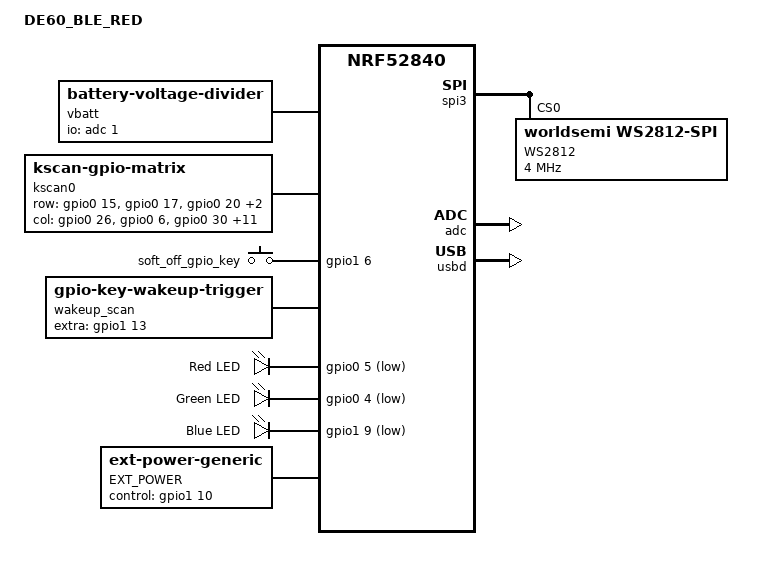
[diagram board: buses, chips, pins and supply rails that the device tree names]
/*
 * Copyright (c) 2025 Deemen17 Works
 *
 * SPDX-License-Identifier: MIT
 */

/dts-v1/;
#include <nordic/nrf52840_qiaa.dtsi>
#include <dt-bindings/led/led.h>

#include "de60_ble_red-pinctrl.dtsi"
#include "de60_ble_red-layouts.dtsi"
#include "de60_ble_red-transforms.dtsi"

/ {
    model = "DE60_BLE_RED";
    compatible = "deemen17,de60", "nordic,nrf52840";

    chosen {
        zephyr,code-partition = &code_partition;
        zephyr,sram = &sram0;
        zephyr,flash = &flash0;
        zmk,kscan = &kscan0;
        zmk,battery = &vbatt;
        zmk,underglow = &led_strip;
        zmk,studio-rpc-uart = &cdc_acm_uart;
        // zephyr,console = &cdc_acm_uart;
    };

    vbatt: vbatt {
        compatible = "zmk,battery-voltage-divider";
        io-channels = <&adc 1>; // P0.30
        output-ohms = <2000000>;
        full-ohms = <(1000000 + 2000000)>;
    };

    kscan0: kscan {
        compatible = "zmk,kscan-gpio-matrix";
        wakeup-source;
        diode-direction = "col2row";
        row-gpios
            = <&gpio0 15 (GPIO_ACTIVE_HIGH | GPIO_PULL_DOWN)>
            , <&gpio0 17 (GPIO_ACTIVE_HIGH | GPIO_PULL_DOWN)>
            , <&gpio0 20 (GPIO_ACTIVE_HIGH | GPIO_PULL_DOWN)>
            , <&gpio0 12 (GPIO_ACTIVE_HIGH | GPIO_PULL_DOWN)>
            , <&gpio1 6  (GPIO_ACTIVE_HIGH | GPIO_PULL_DOWN)>
            ;
        col-gpios
            = <&gpio0 26 GPIO_ACTIVE_HIGH>
            , <&gpio0 6  GPIO_ACTIVE_HIGH>
            , <&gpio0 30 GPIO_ACTIVE_HIGH>
            , <&gpio0 31 GPIO_ACTIVE_HIGH>
            , <&gpio0 29 GPIO_ACTIVE_HIGH>
            , <&gpio0 2  GPIO_ACTIVE_HIGH>
            , <&gpio1 13 GPIO_ACTIVE_HIGH>
            , <&gpio0 28 GPIO_ACTIVE_HIGH>
            , <&gpio0 8  GPIO_ACTIVE_HIGH>
            , <&gpio0 7  GPIO_ACTIVE_HIGH>
            , <&gpio1 4  GPIO_ACTIVE_HIGH>
            , <&gpio1 2  GPIO_ACTIVE_HIGH>
            , <&gpio1 0  GPIO_ACTIVE_HIGH>
            , <&gpio0 22 GPIO_ACTIVE_HIGH>
            ;
    };


/* --- Wakeup after Soft-off using space key --- */    
    keys {
        compatible = "gpio-keys";
        soft_off_gpio_key: soft_off_gpio_key {
            gpios = <&gpio1 6 (GPIO_ACTIVE_HIGH | GPIO_PULL_DOWN)>; // row4
        };
    };

    wakeup_scan: wakeup_scan {
        compatible = "zmk,gpio-key-wakeup-trigger";
        trigger = <&soft_off_gpio_key>;
        wakeup-source;
        extra-gpios = <&gpio1 13 GPIO_ACTIVE_HIGH>; // col6
    };

    soft_off_wakers {
        compatible = "zmk,soft-off-wakeup-sources";
        wakeup-sources = <&wakeup_scan>;
    };

    aliases {
        led-red   = &led_0;
		led-green = &led_1;
		led-blue  = &led_2;
	};

    leds {
        compatible = "gpio-leds";
        status = "okay";

        led_0: led_red { 
            gpios = <&gpio0 5  GPIO_ACTIVE_LOW>;
            label = "Red LED";
        };

        led_1: led_green { 
            gpios = <&gpio0 4  GPIO_ACTIVE_LOW>;
            label = "Green LED"; 
        };
        
        led_2: led_blue { 
            gpios = <&gpio1 9  GPIO_ACTIVE_LOW>;
            label = "Blue LED";
        };
    };

    ext-power {
        compatible = "zmk,ext-power-generic";
        label = "EXT_POWER";
        control-gpios = <&gpio1 10 GPIO_ACTIVE_HIGH>;
    };

};

&spi3 {
    compatible = "nordic,nrf-spim";

    pinctrl-0 = <&spi3_default>;
    pinctrl-1 = <&spi3_sleep>;
    pinctrl-names = "default", "sleep";
    status = "okay";

    led_strip: ws2812@0 {
        compatible = "worldsemi,ws2812-spi";
        label = "WS2812";

        /* SPI */
        reg = <0>; /* ignored, but necessary for SPI bindings */
        spi-max-frequency = <4000000>;

        /* WS2812 */
        chain-length = <26>; /* LED strip length */
        spi-one-frame = <0x70>;
        spi-zero-frame = <0x40>;
        color-mapping = <LED_COLOR_ID_GREEN LED_COLOR_ID_RED LED_COLOR_ID_BLUE>;
    };
};

&gpio0 {
    status = "okay";
};

&gpio1 {
    status = "okay";
};

&adc {
    status = "okay";
};

zephyr_udc0: &usbd {
    status = "okay";
};

&usbd {
    status = "okay";
    cdc_acm_uart: cdc_acm_uart {
        compatible = "zephyr,cdc-acm-uart";
        status = "okay";
    };
};

&flash0 {
    /*
     * For more information, see:
     * http://docs.zephyrproject.org/latest/devices/dts/flash_partitions.html
     */
    partitions {
        compatible = "fixed-partitions";
        #address-cells = <1>;
        #size-cells = <1>;

        sd_partition: partition@0 {
            label = "softdevice";
            reg = <0x00000000 0x00026000>;
        };
        code_partition: partition@26000 {
            label = "code_partition";
            reg = <0x00026000 0x000c6000>;
        };

        /*
         * The flash starting at 0x000ec000 and ending at
         * 0x000f3fff is reserved for use by the application.
         */

        /*
         * Storage partition will be used by FCB/LittleFS/NVS
         * if enabled.
         */
        storage_partition: partition@ec000 {
            label = "storage";
            reg = <0x000ec000 0x00008000>;
        };

        boot_partition: partition@f4000 {
            label = "adafruit_boot";
            reg = <0x000f4000 0x0000c000>;
        };
    };
};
